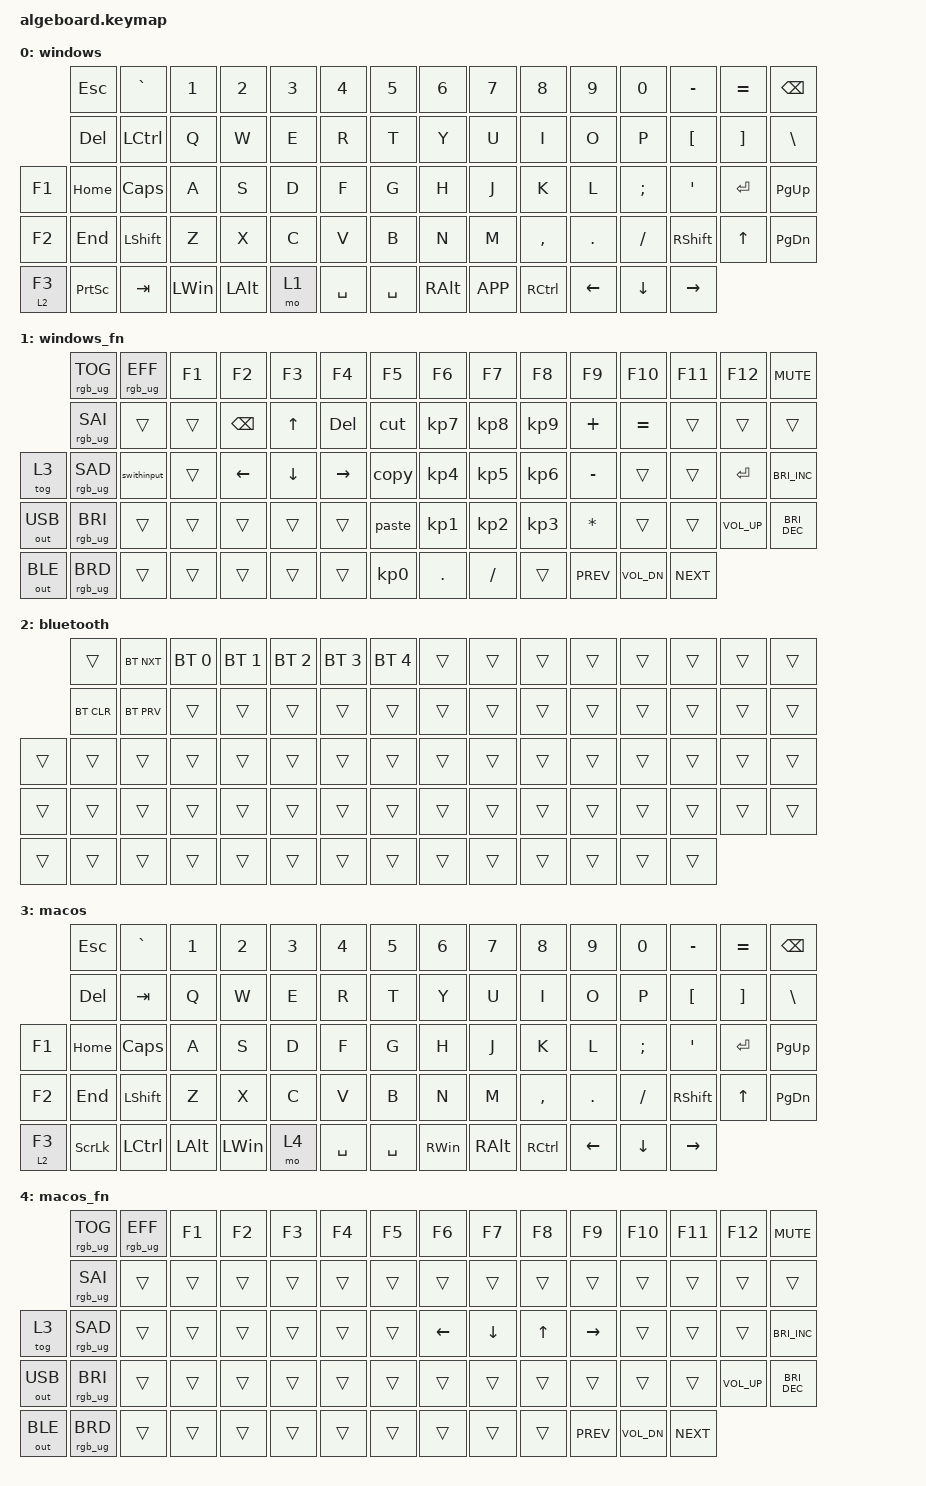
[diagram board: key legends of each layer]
/*
 * Copyright (c) 2020 The ZMK Contributors
 *
 * SPDX-License-Identifier: MIT
 */

#include <behaviors.dtsi>
#include <dt-bindings/zmk/keys.h>
#include <dt-bindings/zmk/rgb.h>
#include <dt-bindings/zmk/outputs.h>
#include <dt-bindings/zmk/bt.h>

/ {
    combos {
        compatible = "zmk,combos";

        new_combo {
            bindings = <&trans>;
            key-positions = <0>;
        };
    };

    macros {
        copy: copy {
            compatible = "zmk,behavior-macro";
            label = "new_macro";
            #binding-cells = <0>;
            bindings =
                <&macro_press>,
                <&kp LCTRL>,
                <&macro_tap>,
                <&kp C>,
                <&macro_release>,
                <&kp LCTRL>;
        };
        paste: paste {
            compatible = "zmk,behavior-macro";
            label = "new_macro";
            #binding-cells = <0>;
            bindings =
                <&macro_press>,
                <&kp LCTRL>,
                <&macro_tap>,
                <&kp V>,
                <&macro_release>,
                <&kp LCTRL>;
        };
        cut: cut {
            compatible = "zmk,behavior-macro";
            label = "new_macro";
            #binding-cells = <0>;
            bindings =
                <&macro_press>,
                <&kp LCTRL>,
                <&macro_tap>,
                <&kp X>,
                <&macro_release>,
                <&kp LCTRL>;
        };
        swithinput: swithinput {
            compatible = "zmk,behavior-macro";
            label = "new_macro";
            #binding-cells = <0>;
            bindings =
                <&macro_press>,
                <&kp LCTRL>,
                <&macro_tap>,
                <&kp LSHIFT>,
                <&macro_release>,
                <&kp LCTRL>;
        };
    };

    keymap {
        compatible = "zmk,keymap";

        windows {
            bindings = <
                   &kp ESC     &kp GRAVE    &kp N1    &kp N2  &kp N3     &kp N4     &kp N5    &kp N6     &kp N7     &kp N8    &kp N9     &kp N0   &kp MINUS  &kp EQUAL  &kp BACKSPACE
                   &kp DEL     &kp LCTRL     &kp Q     &kp W   &kp E      &kp R      &kp T     &kp Y      &kp U      &kp I     &kp O      &kp P    &kp LBKT   &kp RBKT  &kp BACKSLASH
   &kp F1         &kp HOME  &kp CAPSLOCK     &kp A     &kp S   &kp D      &kp F      &kp G     &kp H      &kp J      &kp K     &kp L   &kp SEMI     &kp SQT  &kp ENTER      &kp PG_UP
   &kp F2          &kp END    &kp LSHIFT     &kp Z     &kp X   &kp C      &kp V      &kp B     &kp N      &kp M  &kp COMMA   &kp DOT  &kp SLASH  &kp RSHIFT     &kp UP      &kp PG_DN
 &lt 2 F3  &kp PRINTSCREEN       &kp TAB  &kp LWIN  &kp LALT   &mo 1  &kp SPACE  &kp SPACE  &kp RALT  &kp K_APP  &kp RCTRL  &kp LEFT   &kp DOWN   &kp RIGHT
            >;
        };

        windows_fn {
            bindings = <
               &rgb_ug RGB_TOG  &rgb_ug RGB_EFF  &kp F1         &kp F2    &kp F3      &kp F4           &kp F5           &kp F6           &kp F7           &kp F8        &kp F9       &kp F10     &kp F11       &kp F12     &kp C_MUTE
               &rgb_ug RGB_SAI           &trans  &trans  &kp BACKSPACE    &kp UP  &kp DELETE             &cut  &kp KP_NUMBER_7  &kp KP_NUMBER_8  &kp KP_NUMBER_9      &kp PLUS     &kp EQUAL      &trans        &trans         &trans
       &tog 3  &rgb_ug RGB_SAD      &swithinput  &trans       &kp LEFT  &kp DOWN   &kp RIGHT            &copy  &kp KP_NUMBER_4  &kp KP_NUMBER_5  &kp KP_NUMBER_6     &kp MINUS        &trans      &trans     &kp ENTER  &kp C_BRI_INC
 &out OUT_USB  &rgb_ug RGB_BRI           &trans  &trans         &trans    &trans      &trans           &paste  &kp KP_NUMBER_1  &kp KP_NUMBER_2  &kp KP_NUMBER_3  &kp ASTERISK        &trans      &trans  &kp C_VOL_UP  &kp C_BRI_DEC
 &out OUT_BLE  &rgb_ug RGB_BRD           &trans  &trans         &trans    &trans      &trans  &kp KP_NUMBER_0       &kp PERIOD        &kp SLASH           &trans    &kp C_PREV  &kp C_VOL_DN  &kp C_NEXT
            >;
        };

        bluetooth {
            bindings = <
             &trans  &bt BT_NXT  &bt BT_SEL 0  &bt BT_SEL 1  &bt BT_SEL 2  &bt BT_SEL 3  &bt BT_SEL 4  &trans  &trans  &trans  &trans  &trans  &trans  &trans  &trans
         &bt BT_CLR  &bt BT_PRV        &trans        &trans        &trans        &trans        &trans  &trans  &trans  &trans  &trans  &trans  &trans  &trans  &trans
 &trans      &trans      &trans        &trans        &trans        &trans        &trans        &trans  &trans  &trans  &trans  &trans  &trans  &trans  &trans  &trans
 &trans      &trans      &trans        &trans        &trans        &trans        &trans        &trans  &trans  &trans  &trans  &trans  &trans  &trans  &trans  &trans
 &trans      &trans      &trans        &trans        &trans        &trans        &trans        &trans  &trans  &trans  &trans  &trans  &trans  &trans
            >;
        };

        macos {
            bindings = <
                  &kp ESC     &kp GRAVE    &kp N1    &kp N2  &kp N3     &kp N4     &kp N5    &kp N6    &kp N7     &kp N8    &kp N9     &kp N0   &kp MINUS  &kp EQUAL  &kp BACKSPACE
                  &kp DEL       &kp TAB     &kp Q     &kp W   &kp E      &kp R      &kp T     &kp Y     &kp U      &kp I     &kp O      &kp P    &kp LBKT   &kp RBKT  &kp BACKSLASH
   &kp F1        &kp HOME  &kp CAPSLOCK     &kp A     &kp S   &kp D      &kp F      &kp G     &kp H     &kp J      &kp K     &kp L   &kp SEMI     &kp SQT  &kp ENTER      &kp PG_UP
   &kp F2         &kp END    &kp LSHIFT     &kp Z     &kp X   &kp C      &kp V      &kp B     &kp N     &kp M  &kp COMMA   &kp DOT  &kp SLASH  &kp RSHIFT     &kp UP      &kp PG_DN
 &lt 2 F3  &kp SCROLLLOCK     &kp LCTRL  &kp LALT  &kp LWIN   &mo 4  &kp SPACE  &kp SPACE  &kp RWIN  &kp RALT  &kp RCTRL  &kp LEFT   &kp DOWN   &kp RIGHT
            >;
        };

        macos_fn {
            bindings = <
               &rgb_ug RGB_TOG  &rgb_ug RGB_EFF  &kp F1  &kp F2  &kp F3  &kp F4  &kp F5    &kp F6    &kp F7  &kp F8      &kp F9       &kp F10     &kp F11       &kp F12     &kp C_MUTE
               &rgb_ug RGB_SAI           &trans  &trans  &trans  &trans  &trans  &trans    &trans    &trans  &trans      &trans        &trans      &trans        &trans         &trans
       &tog 3  &rgb_ug RGB_SAD           &trans  &trans  &trans  &trans  &trans  &trans  &kp LEFT  &kp DOWN  &kp UP   &kp RIGHT        &trans      &trans        &trans  &kp C_BRI_INC
 &out OUT_USB  &rgb_ug RGB_BRI           &trans  &trans  &trans  &trans  &trans  &trans    &trans    &trans  &trans      &trans        &trans      &trans  &kp C_VOL_UP  &kp C_BRI_DEC
 &out OUT_BLE  &rgb_ug RGB_BRD           &trans  &trans  &trans  &trans  &trans  &trans    &trans    &trans  &trans  &kp C_PREV  &kp C_VOL_DN  &kp C_NEXT
            >;
        };
    };
};
